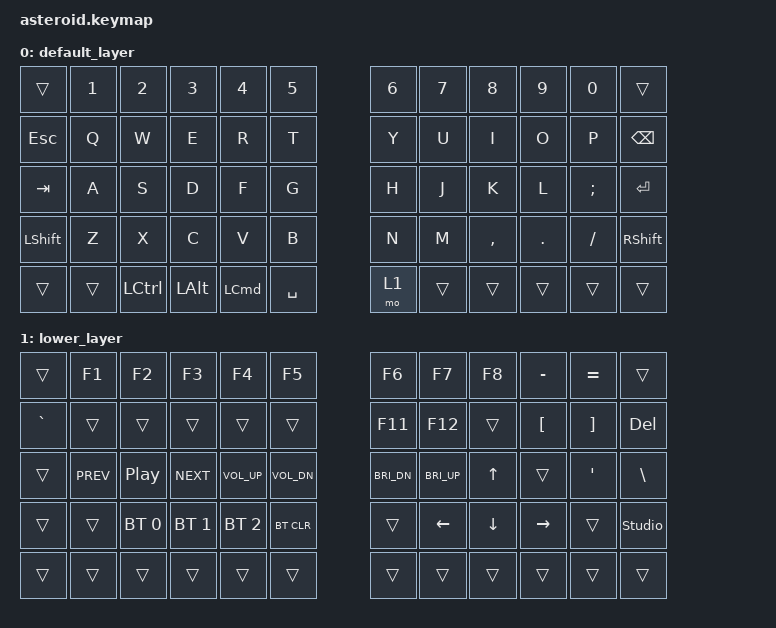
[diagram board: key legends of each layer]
#include <behaviors.dtsi>
#include <dt-bindings/zmk/keys.h>
#include <dt-bindings/zmk/bt.h>
#include <dt-bindings/zmk/outputs.h>
#include <dt-bindings/zmk/mouse.h>

/ {
    keymap {
        compatible = "zmk,keymap";

        // ============================================================================
        // LAYER 0: DEFAULT LAYER (QWERTY) - 5x6 Split Layout (60 keys total)
        // ============================================================================
        // Layout:
        // ┌─────┬─────┬─────┬─────┬─────┬─────┐   ┌─────┬─────┬─────┬─────┬─────┬─────┐
        // │     │  1  │  2  │  3  │  4  │  5  │   │  6  │  7  │  8  │  9  │  0  │     │
        // ├─────┼─────┼─────┼─────┼─────┼─────┤   ├─────┼─────┼─────┼─────┼─────┼─────┤
        // │ ESC │  Q  │  W  │  E  │  R  │  T  │   │  Y  │  U  │  I  │  O  │  P  │BKSP │
        // ├─────┼─────┼─────┼─────┼─────┼─────┤   ├─────┼─────┼─────┼─────┼─────┼─────┤
        // │ TAB │  A  │  S  │  D  │  F  │  G  │   │  H  │  J  │  K  │  L  │  ;  │ENTER│
        // ├─────┼─────┼─────┼─────┼─────┼─────┤   ├─────┼─────┼─────┼─────┼─────┼─────┤
        // │SHIFT│  Z  │  X  │  C  │  V  │  B  │   │  N  │  M  │  ,  │  .  │  /  │SHIFT│
        // ├─────┼─────┼─────┼─────┼─────┼─────┤   ├─────┼─────┼─────┼─────┼─────┼─────┤
        // │     │     │CTRL │ ALT │ CMD │SPACE│   │ FN  │     │     │     │     │     │
        // └─────┴─────┴─────┴─────┴─────┴─────┘   └─────┴─────┴─────┴─────┴─────┴─────┘
        default_layer {
            bindings = <
                &trans    &kp N1   &kp N2   &kp N3    &kp N4   &kp N5       &kp N6    &kp N7   &kp N8    &kp N9   &kp N0    &trans
                &kp ESC   &kp Q    &kp W    &kp E     &kp R    &kp T        &kp Y     &kp U    &kp I     &kp O    &kp P     &kp BSPC
                &kp TAB   &kp A    &kp S    &kp D     &kp F    &kp G        &kp H     &kp J    &kp K     &kp L    &kp SEMI  &kp RET
                &kp LSHFT &kp Z    &kp X    &kp C     &kp V    &kp B        &kp N     &kp M    &kp COMMA &kp DOT  &kp FSLH  &kp RSHFT
                &trans    &trans   &kp LCTRL &kp LALT &kp LCMD &kp SPACE    &mo 1     &trans   &trans    &trans   &trans    &trans
            >;
        };

        // ============================================================================
        // LAYER 1: FUNCTION LAYER (MEDIA, BT, ARROWS) - 5x6 Split Layout
        // ============================================================================
        // Layout:
        // ┌─────┬─────┬─────┬─────┬─────┬─────┐   ┌─────┬─────┬─────┬─────┬─────┬─────┐
        // │     │ F1  │ F2  │ F3  │ F4  │ F5  │   │ F6  │ F7  │ F8  │  -  │  =  │     │
        // ├─────┼─────┼─────┼─────┼─────┼─────┤   ├─────┼─────┼─────┼─────┼─────┼─────┤
        // │  `  │     │     │     │     │     │   │ F11 │ F12 │     │  [  │  ]  │ DEL │
        // ├─────┼─────┼─────┼─────┼─────┼─────┤   ├─────┼─────┼─────┼─────┼─────┼─────┤
        // │     │PREV │PLAY │NEXT │VOL+ │VOL- │   │BRI- │BRI+ │  ↑  │     │  '  │  \  │
        // ├─────┼─────┼─────┼─────┼─────┼─────┤   ├─────┼─────┼─────┼─────┼─────┼─────┤
        // │     │     │ BT1 │ BT2 │ BT3 │BTCLR│   │     │  ←  │  ↓  │  →  │     │UNLCK│
        // ├─────┼─────┼─────┼─────┼─────┼─────┤   ├─────┼─────┼─────┼─────┼─────┼─────┤
        // │     │     │     │     │     │     │   │     │     │     │     │     │     │
        // └─────┴─────┴─────┴─────┴─────┴─────┘   └─────┴─────┴─────┴─────┴─────┴─────┘

        lower_layer {
            bindings = <
                &trans    &kp F1        &kp F2        &kp F3        &kp F4        &kp F5          &kp F6        &kp F7        &kp F8      &kp MINUS      &kp EQUAL  &trans
                &kp GRAVE &trans        &trans        &trans        &trans        &trans          &kp F11       &kp F12       &trans      &kp LBKT       &kp RBKT   &kp DEL
                &trans    &kp C_PREV    &kp C_PP      &kp C_NEXT    &kp C_VOL_UP  &kp C_VOL_DN    &kp C_BRI_DN  &kp C_BRI_UP  &kp UP      &trans         &kp SQT    &kp BSLH
                &trans    &trans        &bt BT_SEL 0  &bt BT_SEL 1  &bt BT_SEL 2  &bt BT_CLR      &trans        &kp LEFT      &kp DOWN    &kp RIGHT      &trans     &studio_unlock
                &trans    &trans        &trans        &trans        &trans        &trans          &trans        &trans        &trans      &trans         &trans     &trans
            >;
        };

        // ============================================================================
        // EXTRA LAYERS FOR ZMK STUDIO
        // ============================================================================
        // These layers are reserved for ZMK Studio use and will be ignored during
        // regular builds but become available when ZMK Studio is enabled
        extra1 {
            status = "reserved";
        };
    };
};
